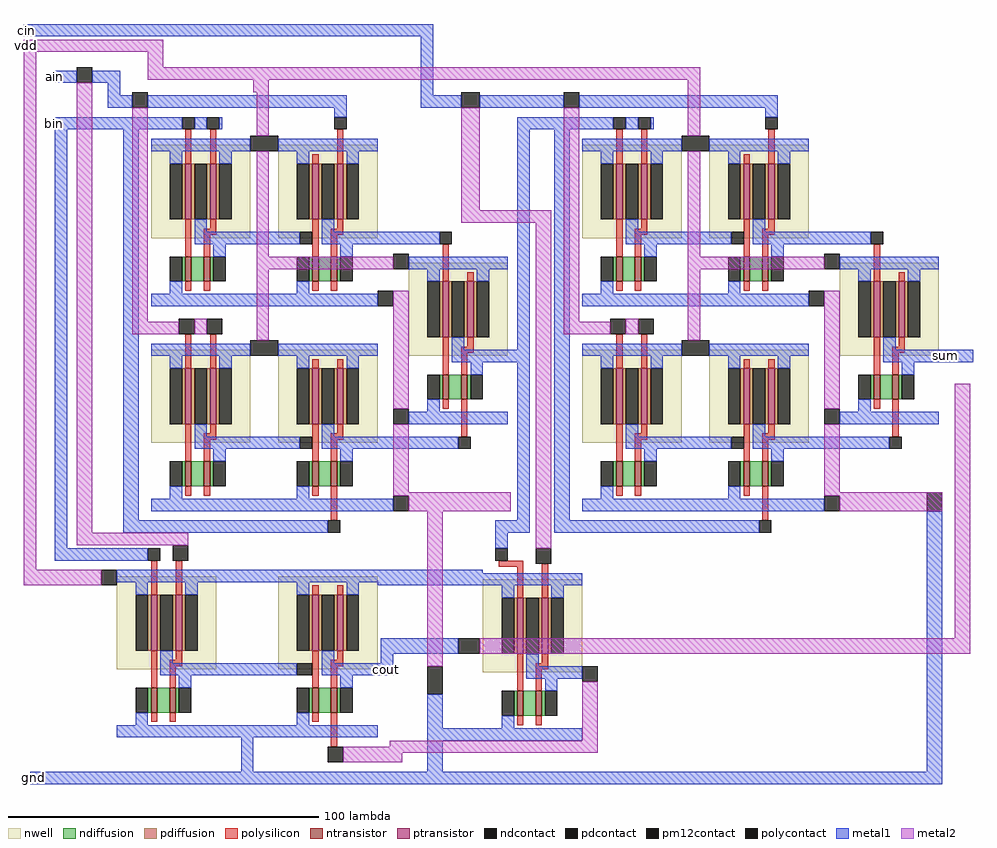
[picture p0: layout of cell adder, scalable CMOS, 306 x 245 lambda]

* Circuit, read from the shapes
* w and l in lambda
.subckt adder ain bin cin cout gnd sum vdd
M1 n1 bin gnd VSUBS nfet w=8 l=2
M2 nand2_2/a ain n1 VSUBS nfet w=8 l=2
M3 n2 ain gnd VSUBS nfet w=8 l=2
M4 n3 bin gnd VSUBS nfet w=8 l=2
M5 xor2_0/nand2_3/a ain n2 VSUBS nfet w=8 l=2
M6 xor2_0/nand2_1/a bin n3 VSUBS nfet w=8 l=2
M7 n4 nand2_2/a gnd VSUBS nfet w=8 l=2
M8 n5 xor2_0/nand2_3/a gnd VSUBS nfet w=8 l=2
M9 n6 xor2_0/nand2_1/a gnd VSUBS nfet w=8 l=2
M10 cout nand2_2/b n4 VSUBS nfet w=8 l=2
M11 xor2_0/nand2_4/b bin n5 VSUBS nfet w=8 l=2
M12 xor2_0/nand2_4/a ain n6 VSUBS nfet w=8 l=2
M13 n7 xor2_0/nand2_4/a gnd VSUBS nfet w=8 l=2
M14 nand2_0/a xor2_0/nand2_4/b n7 VSUBS nfet w=8 l=2
M15 n8 nand2_0/a gnd VSUBS nfet w=8 l=2
M16 nand2_2/b cin n8 VSUBS nfet w=8 l=2
M17 n9 cin gnd VSUBS nfet w=8 l=2
M18 n10 nand2_0/a gnd VSUBS nfet w=8 l=2
M19 xor2_1/nand2_3/a cin n9 VSUBS nfet w=8 l=2
M20 xor2_1/nand2_1/a nand2_0/a n10 VSUBS nfet w=8 l=2
M21 n11 xor2_1/nand2_3/a gnd VSUBS nfet w=8 l=2
M22 n12 xor2_1/nand2_1/a gnd VSUBS nfet w=8 l=2
M23 xor2_1/nand2_4/b nand2_0/a n11 VSUBS nfet w=8 l=2
M24 xor2_1/nand2_4/a cin n12 VSUBS nfet w=8 l=2
M25 n13 xor2_1/nand2_4/a gnd VSUBS nfet w=8 l=2
M26 sum xor2_1/nand2_4/b n13 VSUBS nfet w=8 l=2
M27 nand2_2/a bin vdd n14 pfet w=18 l=2
M28 vdd ain nand2_2/a n14 pfet w=18 l=2
M29 xor2_0/nand2_3/a ain vdd n15 pfet w=18 l=2 m=2
M30 xor2_0/nand2_1/a bin vdd n16 pfet w=18 l=2 m=2
M31 cout nand2_2/a vdd n17 pfet w=18 l=2
M32 xor2_0/nand2_4/b xor2_0/nand2_3/a vdd n18 pfet w=18 l=2
M33 xor2_0/nand2_4/a xor2_0/nand2_1/a vdd n19 pfet w=18 l=2
M34 vdd nand2_2/b cout n17 pfet w=18 l=2
M35 vdd bin xor2_0/nand2_4/b n18 pfet w=18 l=2
M36 vdd ain xor2_0/nand2_4/a n19 pfet w=18 l=2
M37 nand2_0/a xor2_0/nand2_4/a vdd n20 pfet w=18 l=2
M38 vdd xor2_0/nand2_4/b nand2_0/a n20 pfet w=18 l=2
M39 nand2_2/b nand2_0/a vdd n21 pfet w=18 l=2
M40 vdd cin nand2_2/b n21 pfet w=18 l=2
M41 xor2_1/nand2_3/a cin vdd n22 pfet w=18 l=2 m=2
M42 xor2_1/nand2_1/a nand2_0/a vdd n23 pfet w=18 l=2 m=2
M43 xor2_1/nand2_4/b xor2_1/nand2_3/a vdd n24 pfet w=18 l=2
M44 xor2_1/nand2_4/a xor2_1/nand2_1/a vdd n25 pfet w=18 l=2
M45 vdd nand2_0/a xor2_1/nand2_4/b n24 pfet w=18 l=2
M46 vdd cin xor2_1/nand2_4/a n25 pfet w=18 l=2
M47 sum xor2_1/nand2_4/a vdd n26 pfet w=18 l=2
M48 vdd xor2_1/nand2_4/b sum n26 pfet w=18 l=2
.ends

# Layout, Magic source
magic
tech scmos
<< polysilicon >>
rect -52 -27 -50 -19
rect -44 -27 -42 -19
rect 60 -21 68 -19
rect 66 -28 68 -21
rect 74 -29 76 -20
rect 6 -79 8 -71
<< polycontact >>
rect -53 -19 -49 -15
rect 59 -19 63 -15
rect -5 -56 0 -52
<< metal1 >>
rect -93 150 39 154
rect -83 135 -76 139
rect -71 135 -62 139
rect -66 127 -62 135
rect 35 131 39 150
rect 35 127 48 131
rect 54 127 77 131
rect -83 120 -62 124
rect 66 120 77 124
rect -83 -15 -79 120
rect 66 49 70 120
rect 63 45 70 49
rect 202 45 213 49
rect 66 -6 70 45
rect 59 -10 70 -6
rect -83 -19 -53 -15
rect 59 -15 63 -10
rect -31 -26 -11 -22
rect 21 -27 55 -22
rect 22 -49 47 -44
rect 22 -52 26 -49
rect -31 -56 -5 -52
rect 21 -56 26 -52
rect -31 -76 -11 -72
rect 37 -73 42 -62
rect -23 -87 -19 -76
rect 37 -77 56 -73
rect 37 -87 42 -77
rect 198 -87 203 -3
rect -91 -91 203 -87
<< pm12contact >>
rect -76 135 -71 140
rect 48 127 54 132
rect 198 -3 203 3
rect -45 -19 -40 -14
rect 72 -20 77 -15
rect -68 -27 -63 -22
rect 47 -49 54 -44
rect 37 -62 42 -53
rect 87 -58 92 -53
rect 5 -84 10 -79
<< metal2 >>
rect -93 145 -48 149
rect -93 -22 -89 145
rect -53 140 -48 145
rect -53 136 125 140
rect -76 -10 -71 135
rect -19 132 -14 136
rect 121 132 125 136
rect 48 94 54 127
rect 48 90 77 94
rect -76 -14 -40 -10
rect -93 -27 -68 -22
rect 37 -53 42 -3
rect 72 -15 77 90
rect 207 -44 212 38
rect 54 -49 212 -44
rect 87 -77 92 -58
rect 25 -79 92 -77
rect 10 -81 92 -79
rect 10 -84 29 -81
use xor2  xor2_0
transform 1 0 5 0 1 68
box -67 -78 59 64
use xor2  xor2_1
transform 1 0 144 0 1 68
box -67 -78 59 64
use nand2  nand2_1
transform 1 0 -48 0 1 -61
box -15 -15 17 39
use nand2  nand2_2
transform 1 0 4 0 1 -61
box -15 -15 17 39
use nand2  nand2_0
transform 1 0 70 0 1 -62
box -15 -15 17 39
<< labels >>
rlabel metal1 -83 122 -83 122 3 bin
rlabel metal1 -83 137 -83 137 4 ain
rlabel metal1 24 -54 24 -54 1 cout
rlabel metal1 204 47 204 47 7 sum
rlabel metal1 -90 -89 -90 -89 2 gnd
rlabel metal2 -92 147 -92 147 4 vdd
rlabel metal1 -92 152 -92 152 4 cin
<< end >>

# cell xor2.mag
magic
tech scmos
<< polysilicon >>
rect -46 44 -44 52
rect -38 44 -36 52
rect 3 44 5 52
rect 37 6 39 15
rect -46 -22 -44 -14
rect -38 -22 -36 -14
rect 43 -47 45 -38
rect 1 -74 3 -66
<< polycontact >>
rect -47 52 -43 56
rect -39 52 -35 56
rect 2 52 6 56
rect -9 15 -5 19
rect 36 15 40 19
rect -9 -51 -5 -47
rect 42 -51 46 -47
rect 0 -78 4 -74
<< metal1 >>
rect -67 59 -63 63
rect -58 59 6 63
rect 2 56 6 59
rect -67 52 -47 56
rect -43 52 -39 56
rect -35 52 -34 56
rect -66 -74 -61 52
rect -25 15 -9 19
rect 16 15 36 19
rect -25 -5 -16 -1
rect 58 -23 59 -19
rect -25 -51 -9 -47
rect 16 -51 42 -47
rect -25 -71 -16 -67
rect 16 -71 21 -67
rect -66 -78 0 -74
<< pm12contact >>
rect -63 59 -58 64
rect -25 45 -16 50
rect 21 7 26 12
rect 16 -5 21 0
rect -48 -14 -43 -9
rect -39 -14 -34 -9
rect -25 -21 -16 -16
rect 21 -43 26 -38
rect 21 -71 26 -66
<< metal2 >>
rect -63 -10 -58 59
rect -23 50 -19 64
rect -23 11 -19 45
rect -23 7 21 11
rect -63 -14 -48 -10
rect -43 -14 -39 -9
rect -23 -16 -19 7
rect 21 -38 26 0
rect 21 -65 26 -43
rect 21 -66 59 -65
rect 26 -71 59 -66
use nand2  nand2_0
transform 1 0 -42 0 1 10
box -15 -15 17 39
use nand2  nand2_1
transform 1 0 -1 0 1 10
box -15 -15 17 39
use nand2  nand2_2
transform 1 0 -42 0 1 -56
box -15 -15 17 39
use nand2  nand2_3
transform 1 0 -1 0 1 -56
box -15 -15 17 39
use nand2  nand2_4
transform 1 0 41 0 1 -28
box -15 -15 17 39
<< labels >>
rlabel metal1 -67 53 -67 53 4 ain
rlabel metal1 -67 61 -67 61 4 bin
rlabel metal1 59 -21 59 -21 7 out_x
rlabel metal2 59 -68 59 -68 7 gnd
rlabel metal2 -21 64 -21 64 5 vdd
<< end >>

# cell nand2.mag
magic
tech scmos
<< nwell >>
rect -15 7 17 37
<< polysilicon >>
rect -4 31 -2 34
rect 4 31 6 34
rect -4 1 -2 13
rect 4 10 6 13
rect 2 8 6 10
rect 2 1 4 8
rect -4 -10 -2 -7
rect 2 -10 4 -7
<< ndiffusion >>
rect -5 -7 -4 1
rect -2 -7 2 1
rect 4 -7 5 1
<< pdiffusion >>
rect -5 13 -4 31
rect -2 13 -1 31
rect 3 13 4 31
rect 6 13 7 31
<< metal1 >>
rect -15 35 17 39
rect -9 31 -5 35
rect 7 31 11 35
rect -1 9 3 13
rect -1 5 17 9
rect 5 1 9 5
rect -9 -11 -5 -7
rect -15 -15 17 -11
<< ntransistor >>
rect -4 -7 -2 1
rect 2 -7 4 1
<< ptransistor >>
rect -4 13 -2 31
rect 4 13 6 31
<< ndcontact >>
rect -9 -7 -5 1
rect 5 -7 9 1
<< pdcontact >>
rect -9 13 -5 31
rect -1 13 3 31
rect 7 13 11 31
<< labels >>
rlabel metal1 -8 -13 -8 -13 1 gnd
rlabel metal1 -8 37 -8 37 5 vdd
rlabel metal1 14 7 14 7 7 out
rlabel polysilicon -3 34 -3 34 5 a
rlabel polysilicon 5 34 5 34 5 b
<< end >>
